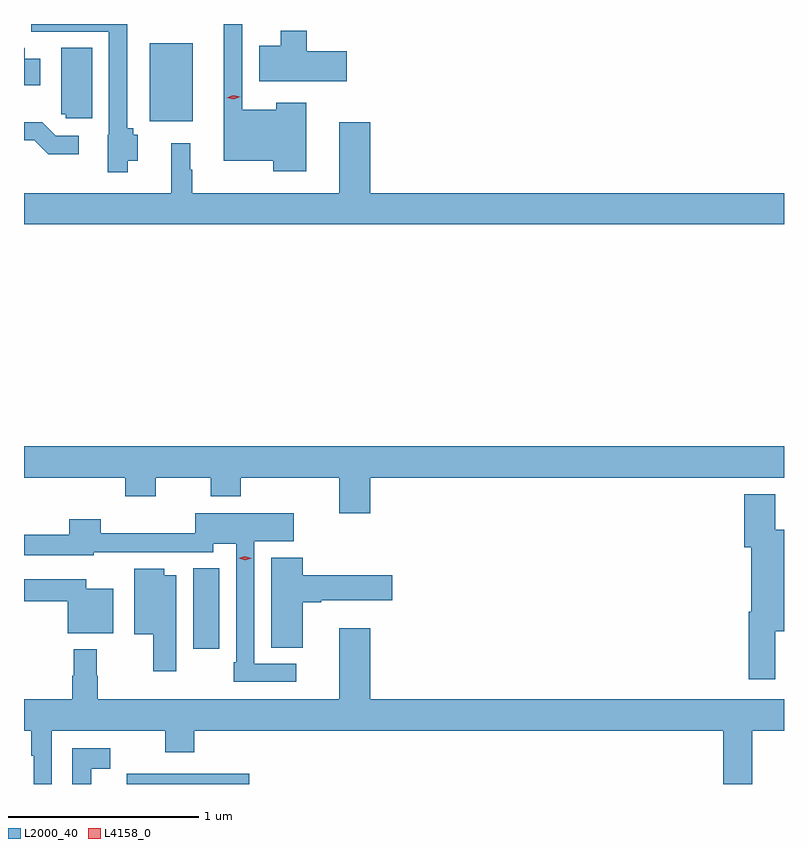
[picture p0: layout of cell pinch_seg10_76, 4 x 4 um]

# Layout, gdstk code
import gdstk
lib = gdstk.Library(unit=1e-6, precision=1e-09)
def R(c, l, rs):  # rectangles x0, y0, x1, y1
    for r in rs: c.add(gdstk.rectangle(r[:2], r[2:], *l))
def P(c, l, *ps):  # polygons
    for p in ps: c.add(gdstk.Polygon(p, *l))
L2000_40 = (2000, 40)
L4158_0 = (4158, 0)

pinch_seg10_76 = lib.new_cell('pinch_seg10_76')
R(pinch_seg10_76, L2000_40, [(811.244,1297.371,811.888,1297.425), (811.592,1298.082,811.729,1298.507), (811.364,1300.859,811.591,1301.269)])
P(pinch_seg10_76, L2000_40, [(811.248,1300.652),(811.3,1300.652),(811.3,1300.788),(811.278,1300.788),(811.278,1300.823),(811.245,1300.823),(811.245,1301.371),(810.741,1301.371),(810.741,1301.331),(811.149,1301.331),(811.149,1300.788),(811.142,1300.788),(811.142,1300.592),(811.248,1300.592)],
  [(812.188,1300.957),(812.03,1300.957),(812.03,1300.921),(811.851,1300.921),(811.851,1301.371),(811.754,1301.371),(811.754,1300.652),(812.013,1300.652),(812.013,1300.595),(812.188,1300.595)],
  [(812.401,1301.227),(812.189,1301.227),(812.189,1301.335),(812.054,1301.335),(812.054,1301.257),(811.94,1301.257),(811.94,1301.069),(812.401,1301.069)],
  [(810.787,1301.188),(810.706,1301.188),(810.706,1301.243),(810.702,1301.247),(810.702,1301.048),(810.787,1301.048)],
  [(811.06,1301.245),(810.899,1301.245),(810.899,1300.896),(810.921,1300.896),(810.921,1300.875),(811.06,1300.875)],
  [(814.702,1300.48),(812.524,1300.48),(812.524,1300.855),(812.36,1300.855),(812.36,1300.48),(811.588,1300.48),(811.588,1300.604),(811.576,1300.604),(811.576,1300.744),(811.477,1300.744),(811.477,1300.48),(810.702,1300.48),(810.702,1300.316),(814.702,1300.316)],
  [(810.991,1300.782),(810.87,1300.782),(810.797,1300.855),(810.702,1300.855),(810.702,1300.758),(810.756,1300.758),(810.829,1300.685),(810.991,1300.685)],
  [(812.524,1298.984),(814.702,1298.984),(814.702,1299.148),(810.702,1299.148),(810.702,1298.984),(811.235,1298.984),(811.235,1298.885),(811.395,1298.885),(811.395,1298.984),(811.684,1298.984),(811.684,1298.885),(811.844,1298.885),(811.844,1298.984),(812.36,1298.984),(812.36,1298.796),(812.524,1298.796)],
  [(814.657,1298.174),(814.702,1298.174),(814.702,1298.709),(814.657,1298.709),(814.657,1298.896),(814.493,1298.896),(814.493,1298.616),(814.529,1298.616),(814.529,1298.278),(814.517,1298.278),(814.517,1297.923),(814.657,1297.923)],
  [(812.134,1298.004),(811.914,1298.004),(811.914,1298.648),(812.122,1298.648),(812.122,1298.797),(811.602,1298.797),(811.602,1298.69),(811.106,1298.69),(811.106,1298.764),(810.941,1298.764),(810.941,1298.683),(810.702,1298.683),(810.702,1298.574),(811.068,1298.574),(811.068,1298.592),(811.698,1298.592),(811.698,1298.636),(811.818,1298.636),(811.818,1298.011),(811.806,1298.011),(811.806,1297.908),(812.134,1297.908)],
  [(812.17,1298.327),(812.266,1298.327),(812.266,1298.339),(812.641,1298.339),(812.641,1298.469),(812.17,1298.469),(812.17,1298.563),(812.003,1298.563),(812.003,1298.089),(812.17,1298.089)],
  [(811.504,1298.47),(811.441,1298.47),(811.441,1298.503),(811.283,1298.503),(811.283,1298.159),(811.382,1298.159),(811.382,1297.965),(811.504,1297.965)],
  [(811.171,1298.398),(811.029,1298.398),(811.029,1298.448),(810.702,1298.448),(810.702,1298.332),(810.933,1298.332),(810.933,1298.165),(811.171,1298.165)],
  [(810.849,1297.652),(811.445,1297.652),(811.445,1297.538),(811.598,1297.538),(811.598,1297.652),(814.382,1297.652),(814.382,1297.371),(814.534,1297.371),(814.534,1297.652),(814.702,1297.652),(814.702,1297.816),(812.524,1297.816),(812.524,1298.191),(812.36,1298.191),(812.36,1297.816),(811.091,1297.816),(811.091,1297.94),(811.084,1297.94),(811.084,1298.08),(810.963,1298.08),(810.963,1297.94),(810.955,1297.94),(810.955,1297.816),(810.702,1297.816),(810.702,1297.652),(810.741,1297.652),(810.741,1297.519),(810.752,1297.519),(810.752,1297.371),(810.849,1297.371)],
  [(811.055,1297.452),(811.156,1297.452),(811.156,1297.56),(810.957,1297.56),(810.957,1297.371),(811.055,1297.371)])
P(pinch_seg10_76, L4158_0, [(811.866,1298.549),(811.831,1298.558),(811.83,1298.558),(811.831,1298.558),(811.865,1298.569),(811.9,1298.56),(811.9,1298.56),(811.9,1298.56)],
  [(811.806,1300.976),(811.769,1300.983),(811.769,1300.983),(811.769,1300.984),(811.804,1300.996),(811.84,1300.988),(811.841,1300.988),(811.84,1300.988)])

lib.write_gds('pinch_seg10_76.gds')
